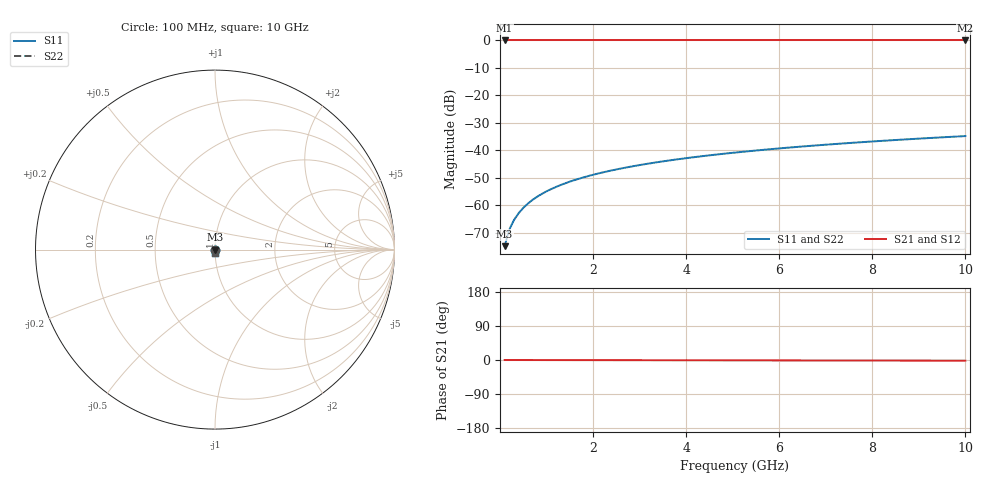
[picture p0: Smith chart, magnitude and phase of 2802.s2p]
# Hz S RI R 50.00
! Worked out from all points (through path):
!   100 points, 100 MHz to 10 GHz, reference 50 ohm
!   highest |S21| = 0.00 dB at 100 MHz (marker M1); lowest = 0.0 dB at 10 GHz (marker M2)
!   lowest |S11| = -74.8 dB at 100 MHz (marker M3), VSWR 1.00, Z = 50 - j0.018 ohm
!   |S11| at or under -10 dB: start of sweep to end of sweep
!   |S22| runs from -74.8 to -34.8 dB; largest |S21 - S12| = 0
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1e8  2.31e-05 -0.00018  1 -0.000304  1 -0.000304  2.31e-05 -0.00018
2e8  2.29e-05 -0.00036  1 -0.000607  1 -0.000607  2.29e-05 -0.00036
3e8  2.25e-05 -0.000539  1 -0.000911  1 -0.000911  2.25e-05 -0.000539
4e8  2.19e-05 -0.000719  1 -0.00122  1 -0.00122  2.19e-05 -0.000719
5e8  2.13e-05 -0.000899  1 -0.00152  1 -0.00152  2.13e-05 -0.000899
6e8  2.05e-05 -0.00108  1 -0.00182  1 -0.00182  2.05e-05 -0.00108
7e8  1.97e-05 -0.00126  1 -0.00213  1 -0.00213  1.97e-05 -0.00126
8e8  1.87e-05 -0.00144  1 -0.00243  1 -0.00243  1.87e-05 -0.00144
9e8  1.76e-05 -0.00162  1 -0.00273  1 -0.00273  1.76e-05 -0.00162
1.1e9  1.5e-05 -0.00198  1 -0.00334  1 -0.00334  1.5e-05 -0.00198
1.4e9  1.04e-05 -0.00252  1 -0.00426  1 -0.00426  1.04e-05 -0.00252
1.8e9  2.59e-06 -0.00324  0.9999 -0.00547  0.9999 -0.00547  2.59e-06 -0.00324
2.1e9  -4.41e-06 -0.00378  0.9999 -0.00639  0.9999 -0.00639  -4.41e-06 -0.00378
2.5e9  -1.53e-05 -0.00451  0.9999 -0.00761  0.9999 -0.00761  -1.53e-05 -0.00451
2.9e9  -2.8e-05 -0.00523  0.9999 -0.00883  0.9999 -0.00883  -2.8e-05 -0.00523
3.4e9  -4.64e-05 -0.00614  0.9999 -0.0104  0.9999 -0.0104  -4.64e-05 -0.00614
4.2e9  -8.16e-05 -0.00759  0.9999 -0.0128  0.9999 -0.0128  -8.16e-05 -0.00759
5.1e9  -0.00013 -0.00923  0.9998 -0.0156  0.9998 -0.0156  -0.00013 -0.00923
5.9e9  -0.000181 -0.0107  0.9997 -0.018  0.9997 -0.018  -0.000181 -0.0107
6.7e9  -0.000239 -0.0122  0.9997 -0.0205  0.9997 -0.0205  -0.000239 -0.0122
8.4e9  -0.000387 -0.0153  0.9995 -0.0258  0.9995 -0.0258  -0.000387 -0.0153
1e10  -0.000557 -0.0182  0.9993 -0.0308  0.9993 -0.0308  -0.000557 -0.0182
